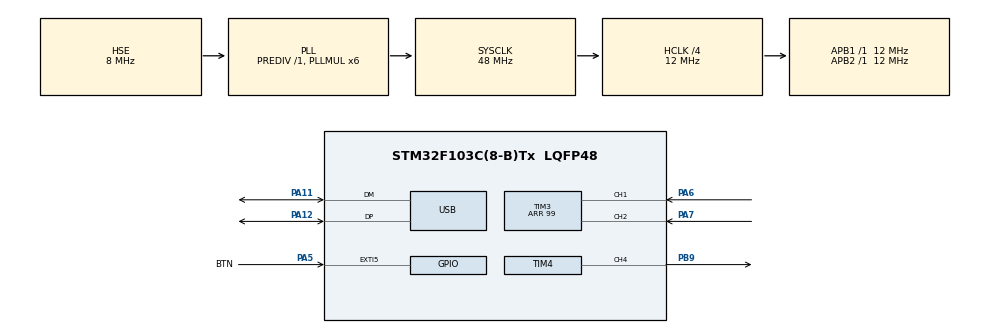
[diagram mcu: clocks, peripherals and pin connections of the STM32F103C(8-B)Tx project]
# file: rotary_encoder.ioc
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Mcu.Family=STM32F1
Mcu.Name=STM32F103C(8-B)Tx
Mcu.Package=LQFP48
NVIC.EXTI9_5_IRQn=true\:0\:0\:false\:false\:true\:true\:true
NVIC.PriorityGroup=NVIC_PRIORITYGROUP_4
NVIC.TIM3_IRQn=true\:0\:0\:false\:false\:true\:true\:true
NVIC.USB_LP_CAN1_RX0_IRQn=true\:0\:0\:false\:false\:true\:false\:true
PA11.Mode=Device
PA11.Signal=USB_DM
PA12.Mode=Device
PA12.Signal=USB_DP
PA13.Mode=Serial_Wire
PA13.Signal=SYS_JTMS-SWDIO
PA14.Mode=Serial_Wire
PA14.Signal=SYS_JTCK-SWCLK
PA5.GPIO_Label=BTN
PA5.GPIO_ModeDefaultEXTI=GPIO_MODE_IT_FALLING
PA5.Signal=GPXTI5
PA6.Signal=S_TIM3_CH1
PA7.Signal=S_TIM3_CH2
PB9.Signal=S_TIM4_CH4
PD0-OSC_IN.Mode=HSE-External-Oscillator
PD0-OSC_IN.Signal=RCC_OSC_IN
PD1-OSC_OUT.Mode=HSE-External-Oscillator
PD1-OSC_OUT.Signal=RCC_OSC_OUT
ProjectManager.HeapSize=0x200
ProjectManager.StackSize=0x400
ProjectManager.TargetToolchain=STM32CubeIDE
RCC.AHBCLKDivider=RCC_SYSCLK_DIV4
RCC.AHBFreq_Value=12000000
RCC.APB1Freq_Value=12000000
RCC.APB1TimFreq_Value=12000000
RCC.APB2Freq_Value=12000000
RCC.APB2TimFreq_Value=12000000
RCC.HCLKFreq_Value=12000000
RCC.PLLMUL=RCC_PLL_MUL6
RCC.PLLSourceVirtual=RCC_PLLSOURCE_HSE
RCC.SYSCLKFreq_VALUE=48000000
RCC.SYSCLKSource=RCC_SYSCLKSOURCE_PLLCLK
RCC.USBFreq_Value=48000000
SH.S_TIM3_CH1.0=TIM3_CH1,Encoder_Interface
SH.S_TIM3_CH2.0=TIM3_CH2,Encoder_Interface
SH.S_TIM4_CH4.0=TIM4_CH4,PWM Generation4 CH4
TIM3.EncoderMode=TIM_ENCODERMODE_TI1
TIM3.IC1Polarity=TIM_ICPOLARITY_RISING
TIM3.IC2Polarity=TIM_ICPOLARITY_RISING
TIM3.Period=99
TIM4.Channel-PWM\ Generation4\ CH4=TIM_CHANNEL_4
TIM4.OCPolarity_4=TIM_OCPOLARITY_LOW
TIM4.Period=99
TIM4.Prescaler=719
TIM4.Pulse-PWM\ Generation4\ CH4=0
USB_DEVICE.CLASS_NAME_FS=CDC
USB_DEVICE.VirtualMode=Cdc
USB_DEVICE.VirtualModeFS=Cdc_FS
VP_TIM4_VS_ClockSourceINT.Mode=Internal
VP_USB_DEVICE_VS_USB_DEVICE_CDC_FS.Mode=CDC_FS
board=custom

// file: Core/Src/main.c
/* USER CODE BEGIN Header */
/**
 ******************************************************************************
 * @file           : main.c
 * @brief          : Main program body
 ******************************************************************************
 * @attention
 *
 * <h2><center>&copy; Copyright (c) 2021 STMicroelectronics.
 * All rights reserved.</center></h2>
 *
 * This software component is licensed by ST under BSD 3-Clause license,
 * the "License"; You may not use this file except in compliance with the
 * License. You may obtain a copy of the License at:
 *                        opensource.org/licenses/BSD-3-Clause
 *
 ******************************************************************************
 */
/* USER CODE END Header */
#include "main.h"
#include "usb_device.h"

TIM_HandleTypeDef htim3;
TIM_HandleTypeDef htim4;

/* USER CODE BEGIN PV */

uint32_t last_count = 0;

/* USER CODE END PV */

void SystemClock_Config(void);
static void MX_GPIO_Init(void);
static void MX_TIM3_Init(void);
static void MX_TIM4_Init(void);

/* USER CODE BEGIN 0 */

int _write(int file, char *ptr, int len) {
	CDC_Transmit_FS((uint8_t*) ptr, len);
	return len;
}

void update_counter() {
	TIM4->CCR4 = TIM3->CNT;
}

void HAL_TIM_IC_CaptureHalfCpltCallback(TIM_HandleTypeDef *htim) {
	if (htim->Instance == TIM3) {
		update_counter();
	}
}

void HAL_TIM_IC_CaptureCallback(TIM_HandleTypeDef *htim) {
	if (htim->Instance == TIM3) {
		update_counter();
	}
}

void HAL_GPIO_EXTI_Callback(uint16_t GPIO_Pin) {
	if (GPIO_Pin == BTN_Pin) {
		TIM3->CNT = 0;
		TIM4->CCR4 = 0; // Half on
	}
}

/* USER CODE END 0 */

int main(void)
{

  /* MCU Configuration--------------------------------------------------------*/

  /* Reset of all peripherals, Initializes the Flash interface and the Systick. */
  HAL_Init();

  /* Configure the system clock */
  SystemClock_Config();

  /* Initialize all configured peripherals */
  MX_GPIO_Init();
  MX_TIM3_Init();
  MX_TIM4_Init();
  MX_USB_DEVICE_Init();
  /* USER CODE BEGIN 2 */

  HAL_TIM_PWM_Start(&htim4, TIM_CHANNEL_4);
  HAL_TIM_Encoder_Start_IT(&htim3, TIM_CHANNEL_ALL);

  /* USER CODE END 2 */

  /* Infinite loop */
  /* USER CODE BEGIN WHILE */

	uint32_t last_print = 0, now = 0;

	for (;;) {

		now = HAL_GetTick();
		if (now - last_print >= 1000) {
			DBG("Encoder counter = %lu", TIM3->CNT);
			last_print = now;
		}

    /* USER CODE END WHILE */

	}
}

void SystemClock_Config(void)
{
  RCC_OscInitTypeDef RCC_OscInitStruct = {0};
  RCC_ClkInitTypeDef RCC_ClkInitStruct = {0};
  RCC_PeriphCLKInitTypeDef PeriphClkInit = {0};

  /** Initializes the RCC Oscillators according to the specified parameters
  * in the RCC_OscInitTypeDef structure.
  */
  RCC_OscInitStruct.OscillatorType = RCC_OSCILLATORTYPE_HSE;
  RCC_OscInitStruct.HSEState = RCC_HSE_ON;
  RCC_OscInitStruct.HSEPredivValue = RCC_HSE_PREDIV_DIV1;
  RCC_OscInitStruct.HSIState = RCC_HSI_ON;
  RCC_OscInitStruct.PLL.PLLState = RCC_PLL_ON;
  RCC_OscInitStruct.PLL.PLLSource = RCC_PLLSOURCE_HSE;
  RCC_OscInitStruct.PLL.PLLMUL = RCC_PLL_MUL6;
  if (HAL_RCC_OscConfig(&RCC_OscInitStruct) != HAL_OK)
  {
    Error_Handler();
  }
  /** Initializes the CPU, AHB and APB buses clocks
  */
  RCC_ClkInitStruct.ClockType = RCC_CLOCKTYPE_HCLK|RCC_CLOCKTYPE_SYSCLK
                              |RCC_CLOCKTYPE_PCLK1|RCC_CLOCKTYPE_PCLK2;
  RCC_ClkInitStruct.SYSCLKSource = RCC_SYSCLKSOURCE_PLLCLK;
  RCC_ClkInitStruct.AHBCLKDivider = RCC_SYSCLK_DIV4;
  RCC_ClkInitStruct.APB1CLKDivider = RCC_HCLK_DIV1;
  RCC_ClkInitStruct.APB2CLKDivider = RCC_HCLK_DIV1;

  if (HAL_RCC_ClockConfig(&RCC_ClkInitStruct, FLASH_LATENCY_1) != HAL_OK)
  {
    Error_Handler();
  }
  PeriphClkInit.PeriphClockSelection = RCC_PERIPHCLK_USB;
  PeriphClkInit.UsbClockSelection = RCC_USBCLKSOURCE_PLL;
  if (HAL_RCCEx_PeriphCLKConfig(&PeriphClkInit) != HAL_OK)
  {
    Error_Handler();
  }
}

static void MX_TIM3_Init(void)
{

  TIM_Encoder_InitTypeDef sConfig = {0};
  TIM_MasterConfigTypeDef sMasterConfig = {0};

  htim3.Instance = TIM3;
  htim3.Init.Prescaler = 0;
  htim3.Init.CounterMode = TIM_COUNTERMODE_UP;
  htim3.Init.Period = 99;
  htim3.Init.ClockDivision = TIM_CLOCKDIVISION_DIV1;
  htim3.Init.AutoReloadPreload = TIM_AUTORELOAD_PRELOAD_DISABLE;
  sConfig.EncoderMode = TIM_ENCODERMODE_TI1;
  sConfig.IC1Polarity = TIM_ICPOLARITY_RISING;
  sConfig.IC1Selection = TIM_ICSELECTION_DIRECTTI;
  sConfig.IC1Prescaler = TIM_ICPSC_DIV1;
  sConfig.IC1Filter = 0;
  sConfig.IC2Polarity = TIM_ICPOLARITY_RISING;
  sConfig.IC2Selection = TIM_ICSELECTION_DIRECTTI;
  sConfig.IC2Prescaler = TIM_ICPSC_DIV1;
  sConfig.IC2Filter = 0;
  if (HAL_TIM_Encoder_Init(&htim3, &sConfig) != HAL_OK)
  {
    Error_Handler();
  }
  sMasterConfig.MasterOutputTrigger = TIM_TRGO_RESET;
  sMasterConfig.MasterSlaveMode = TIM_MASTERSLAVEMODE_DISABLE;
  if (HAL_TIMEx_MasterConfigSynchronization(&htim3, &sMasterConfig) != HAL_OK)
  {
    Error_Handler();
  }

}

static void MX_TIM4_Init(void)
{

  TIM_ClockConfigTypeDef sClockSourceConfig = {0};
  TIM_MasterConfigTypeDef sMasterConfig = {0};
  TIM_OC_InitTypeDef sConfigOC = {0};

  htim4.Instance = TIM4;
  htim4.Init.Prescaler = 719;
  htim4.Init.CounterMode = TIM_COUNTERMODE_UP;
  htim4.Init.Period = 99;
  htim4.Init.ClockDivision = TIM_CLOCKDIVISION_DIV1;
  htim4.Init.AutoReloadPreload = TIM_AUTORELOAD_PRELOAD_DISABLE;
  if (HAL_TIM_Base_Init(&htim4) != HAL_OK)
  {
    Error_Handler();
  }
  sClockSourceConfig.ClockSource = TIM_CLOCKSOURCE_INTERNAL;
  if (HAL_TIM_ConfigClockSource(&htim4, &sClockSourceConfig) != HAL_OK)
  {
    Error_Handler();
  }
  if (HAL_TIM_PWM_Init(&htim4) != HAL_OK)
  {
    Error_Handler();
  }
  sMasterConfig.MasterOutputTrigger = TIM_TRGO_RESET;
  sMasterConfig.MasterSlaveMode = TIM_MASTERSLAVEMODE_DISABLE;
  if (HAL_TIMEx_MasterConfigSynchronization(&htim4, &sMasterConfig) != HAL_OK)
  {
    Error_Handler();
  }
  sConfigOC.OCMode = TIM_OCMODE_PWM1;
  sConfigOC.Pulse = 0;
  sConfigOC.OCPolarity = TIM_OCPOLARITY_LOW;
  sConfigOC.OCFastMode = TIM_OCFAST_DISABLE;
  if (HAL_TIM_PWM_ConfigChannel(&htim4, &sConfigOC, TIM_CHANNEL_4) != HAL_OK)
  {
    Error_Handler();
  }
  HAL_TIM_MspPostInit(&htim4);

}

static void MX_GPIO_Init(void)
{
  GPIO_InitTypeDef GPIO_InitStruct = {0};

  /* GPIO Ports Clock Enable */
  __HAL_RCC_GPIOD_CLK_ENABLE();
  __HAL_RCC_GPIOA_CLK_ENABLE();
  __HAL_RCC_GPIOB_CLK_ENABLE();

  /*Configure GPIO pin : BTN_Pin */
  GPIO_InitStruct.Pin = BTN_Pin;
  GPIO_InitStruct.Mode = GPIO_MODE_IT_FALLING;
  GPIO_InitStruct.Pull = GPIO_NOPULL;
  HAL_GPIO_Init(BTN_GPIO_Port, &GPIO_InitStruct);

  /* EXTI interrupt init*/
  HAL_NVIC_SetPriority(EXTI9_5_IRQn, 0, 0);
  HAL_NVIC_EnableIRQ(EXTI9_5_IRQn);

}

void Error_Handler(void)
{
	__disable_irq();
	while (1) {
	}
}

/************************ (C) COPYRIGHT STMicroelectronics *****END OF FILE****/
